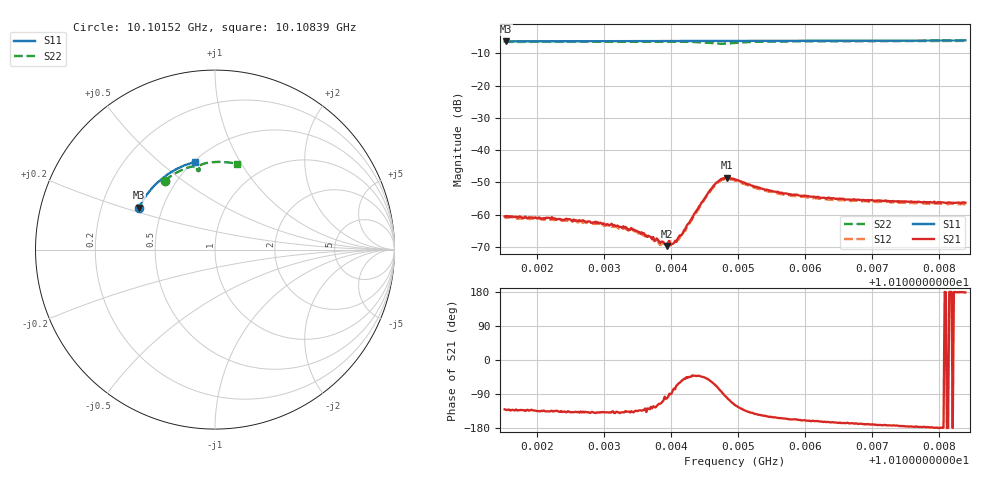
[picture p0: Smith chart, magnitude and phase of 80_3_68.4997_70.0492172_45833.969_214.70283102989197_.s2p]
#  HZ  S  RI  R  50.00
! Rohde & Schwarz Vector Network Analyzer
! Rohde-Schwarz,ZNB20-2Port,1311601062101988,3.16
! Created: UTC 3/20/2024, 5:07:16 PM
! freq[Hz]  re:S11  im:S11  re:S21  im:S21  re:S12  im:S12  re:S22  im:S22
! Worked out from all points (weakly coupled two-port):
!   401 points, 10.10152 GHz to 10.10839 GHz, reference 50 ohm
!   highest |S21| = -48.54 dB at 10.10483 GHz (marker M1); lowest = -69.7 dB at 10.10394 GHz (marker M2)
!   lowest |S11| = -6.3 dB at 10.10153 GHz (marker M3), VSWR 2.87, Z = 18.4 + j11.2 ohm
!   |S11| at or under -10 dB: nowhere
!   |S22| runs from -7.0 to -6.1 dB; largest |S21 - S12| = 0.00037
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1.0101517e10  -0.4243 0.2318  -0.000609 -0.000719  -0.000532 -0.000751  -0.2808 0.3841
1.0101534e10  -0.4237 0.2327  -0.00063 -0.00072  -0.000545 -0.000718  -0.2799 0.3848
1.0102668e10  -0.3892 0.2926  -0.000611 -0.000536  -0.000543 -0.000555  -0.2188 0.4263
1.0103131e10  -0.3728 0.3155  -0.000479 -0.000477  -0.000438 -0.000488  -0.1913 0.4403
1.0103458e10  -0.3605 0.3309  -0.000401 -0.000407  -0.000354 -0.000431  -0.1709 0.4492
1.010375e10  -0.3488 0.3443  -0.000223 -0.000338  -0.000187 -0.000341  -0.1516 0.4561
1.0103818e10  -0.346 0.3474  -0.000169 -0.000352  -0.000132 -0.000331  -0.1468 0.4577
1.0103904e10  -0.3425 0.3512  -4.06e-05 -0.000344  -4.63e-05 -0.000358  -0.1407 0.4594
1.0103939e10  -0.3411 0.3528  -6.3e-05 -0.000321  -2.85e-05 -0.000325  -0.1382 0.4599
1.0104025e10  -0.3374 0.3565  6.02e-05 -0.000349  7.76e-05 -0.000339  -0.1318 0.4613
1.010411e10  -0.3338 0.3603  0.000212 -0.000392  0.00022 -0.000346  -0.1249 0.4623
1.0104179e10  -0.3308 0.3632  0.000331 -0.000423  0.000371 -0.000368  -0.1195 0.4628
1.0104488e10  -0.3172 0.3761  0.00121 -0.00123  0.00127 -0.00108  -0.0923 0.4575
1.0104608e10  -0.3118 0.3809  0.00135 -0.0022  0.00148 -0.00202  -0.0853 0.4479
1.0104729e10  -0.3064 0.3855  0.000609 -0.0034  0.000891 -0.00318  -0.0887 0.4379
1.0104832e10  -0.3018 0.3899  -0.000618 -0.00369  -0.000301 -0.00355  -0.0972 0.4388
1.0104952e10  -0.2962 0.3943  -0.00171 -0.0031  -0.00135 -0.00311  -0.1004 0.4493
1.0105227e10  -0.2833 0.4049  -0.00216 -0.00177  -0.0019 -0.00188  -0.0854 0.4685
1.0105502e10  -0.2698 0.4147  -0.00204 -0.00114  -0.00185 -0.00128  -0.0655 0.4774
1.0106103e10  -0.2395 0.4346  -0.00179 -0.000639  -0.00164 -0.000757  -0.0235 0.4859
1.0107253e10  -0.1773 0.4661  -0.00161 -0.000206  -0.00155 -0.00034  0.0523 0.4876
1.0108387e10  -0.1126 0.4881  -0.00154 4.6e-05  -0.00147 -6.77e-05  0.1244 0.477
